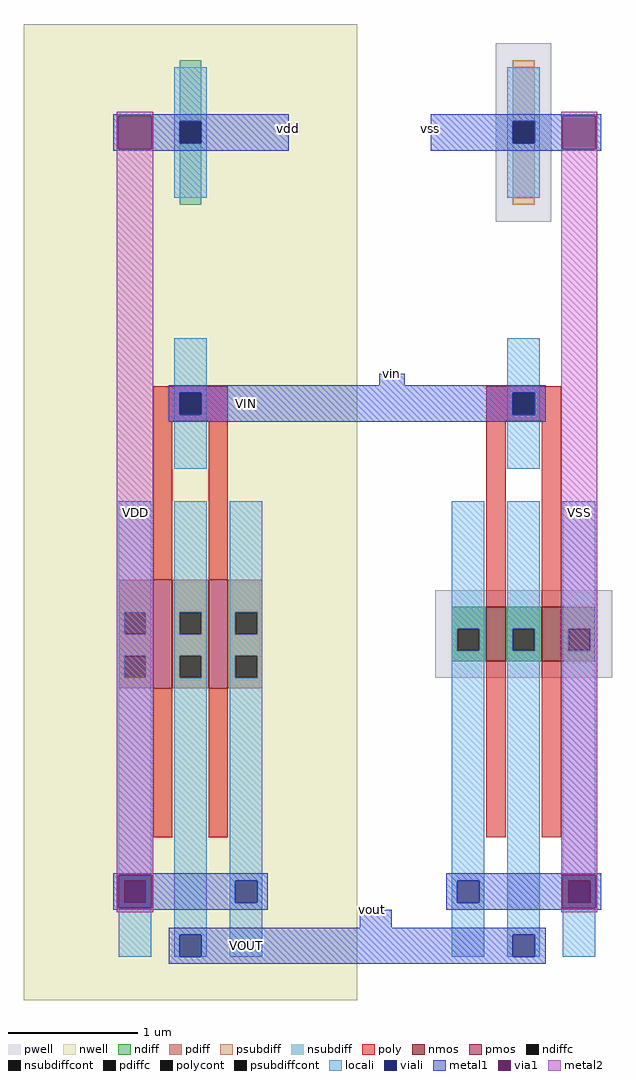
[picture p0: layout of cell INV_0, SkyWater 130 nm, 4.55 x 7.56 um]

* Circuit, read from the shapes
.subckt INV_0 vin vout vdd vss
XM1 VOUT VIN VSS VSS sky130_fd_pr__nfet_01v8 w=0.42 l=0.15 m=2
XM2 VOUT VIN VDD VDD sky130_fd_pr__pfet_01v8 w=0.84 l=0.15 m=2
.ends

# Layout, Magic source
magic
tech sky130A
magscale 1 2
<< metal1 >>
rect 372 1316 410 1372
rect 630 1316 654 1372
rect 550 952 590 970
rect 430 896 602 952
rect 520 112 570 140
rect 430 56 602 112
use NMOS_S_96839798_X1_Y1_1676315448  NMOS_S_96839798_X1_Y1_1676315448_0
transform 1 0 516 0 1 0
box 52 56 395 1482
use PMOS_S_36030836_X1_Y1_1676315449  PMOS_S_36030836_X1_Y1_1676315449_0
transform -1 0 516 0 1 0
box 0 0 516 1512
<< labels >>
flabel metal1 s 344 84 344 84 0 FreeSerif 0 0 0 0 VOUT
flabel metal1 s 344 924 344 924 0 FreeSerif 0 0 0 0 VIN
flabel metal2 s 860 756 860 756 0 FreeSerif 0 0 0 0 VSS
flabel metal2 s 172 756 172 756 0 FreeSerif 0 0 0 0 VDD
rlabel metal1 570 970 570 970 3 vin
port 1 e
rlabel metal1 540 140 540 140 3 vout
port 2 e
rlabel metal1 410 1350 410 1350 3 vdd
port 3 e
rlabel metal1 630 1350 630 1350 3 vss
port 4 e
<< end >>

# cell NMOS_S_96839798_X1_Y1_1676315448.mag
magic
tech sky130A
magscale 1 2
<< pwell >>
rect 215 1206 301 1482
rect 121 499 395 635
<< nmos >>
rect 200 525 230 609
rect 286 525 316 609
<< ndiff >>
rect 147 575 200 609
rect 147 541 155 575
rect 189 541 200 575
rect 147 525 200 541
rect 230 575 286 609
rect 230 541 241 575
rect 275 541 286 575
rect 230 525 286 541
rect 316 575 369 609
rect 316 541 327 575
rect 361 541 369 575
rect 316 525 369 541
<< ndiffc >>
rect 155 541 189 575
rect 241 541 275 575
rect 327 541 361 575
<< psubdiff >>
rect 241 1361 275 1456
rect 241 1232 275 1327
<< psubdiffcont >>
rect 241 1327 275 1361
<< poly >>
rect 200 941 316 951
rect 200 907 241 941
rect 275 907 316 941
rect 200 897 316 907
rect 200 609 230 897
rect 286 609 316 897
rect 200 252 230 525
rect 286 252 316 525
<< polycont >>
rect 241 907 275 941
<< locali >>
rect 233 1361 283 1445
rect 233 1327 241 1361
rect 275 1327 283 1361
rect 233 1243 283 1327
rect 233 941 283 1025
rect 233 907 241 941
rect 275 907 283 941
rect 233 823 283 907
rect 147 575 197 773
rect 147 541 155 575
rect 189 541 197 575
rect 147 185 197 541
rect 147 151 155 185
rect 189 151 197 185
rect 147 67 197 151
rect 233 575 283 773
rect 233 541 241 575
rect 275 541 283 575
rect 233 101 283 541
rect 233 67 241 101
rect 275 67 283 101
rect 319 575 369 773
rect 319 541 327 575
rect 361 541 369 575
rect 319 185 369 541
rect 319 151 327 185
rect 361 151 369 185
rect 319 67 369 151
<< viali >>
rect 241 1327 275 1361
rect 241 907 275 941
rect 155 151 189 185
rect 241 67 275 101
rect 327 151 361 185
<< metal1 >>
rect 138 1370 378 1372
rect 138 1361 318 1370
rect 138 1327 241 1361
rect 275 1327 318 1361
rect 138 1318 318 1327
rect 370 1318 378 1370
rect 138 1316 378 1318
rect 52 941 292 952
rect 52 907 241 941
rect 275 907 292 941
rect 52 896 292 907
rect 138 194 378 196
rect 138 185 318 194
rect 138 151 155 185
rect 189 151 318 185
rect 138 142 318 151
rect 370 142 378 194
rect 138 140 378 142
rect 52 101 292 112
rect 52 67 241 101
rect 275 67 292 101
rect 52 56 292 67
<< via1 >>
rect 318 1318 370 1370
rect 318 185 370 194
rect 318 151 327 185
rect 327 151 361 185
rect 361 151 370 185
rect 318 142 370 151
<< metal2 >>
rect 316 1370 372 1376
rect 316 1318 318 1370
rect 370 1318 372 1370
rect 316 194 372 1318
rect 316 142 318 194
rect 370 142 372 194
rect 316 136 372 142
<< end >>

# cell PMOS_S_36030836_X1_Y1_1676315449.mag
magic
tech sky130A
magscale 1 2
<< nwell >>
rect 0 0 516 1512
<< pmos >>
rect 200 483 230 651
rect 286 483 316 651
<< pdiff >>
rect 147 601 200 651
rect 147 567 155 601
rect 189 567 200 601
rect 147 533 200 567
rect 147 499 155 533
rect 189 499 200 533
rect 147 483 200 499
rect 230 601 286 651
rect 230 567 241 601
rect 275 567 286 601
rect 230 533 286 567
rect 230 499 241 533
rect 275 499 286 533
rect 230 483 286 499
rect 316 601 369 651
rect 316 567 327 601
rect 361 567 369 601
rect 316 533 369 567
rect 316 499 327 533
rect 361 499 369 533
rect 316 483 369 499
<< pdiffc >>
rect 155 567 189 601
rect 155 499 189 533
rect 241 567 275 601
rect 241 499 275 533
rect 327 567 361 601
rect 327 499 361 533
<< nsubdiff >>
rect 241 1361 275 1456
rect 241 1232 275 1327
<< nsubdiffcont >>
rect 241 1327 275 1361
<< poly >>
rect 200 941 316 951
rect 200 907 241 941
rect 275 907 316 941
rect 200 897 316 907
rect 200 651 230 897
rect 286 651 316 897
rect 200 252 230 483
rect 286 252 316 483
<< polycont >>
rect 241 907 275 941
<< locali >>
rect 233 1361 283 1445
rect 233 1327 241 1361
rect 275 1327 283 1361
rect 233 1243 283 1327
rect 233 941 283 1025
rect 233 907 241 941
rect 275 907 283 941
rect 233 823 283 907
rect 147 601 197 773
rect 147 567 155 601
rect 189 567 197 601
rect 147 533 197 567
rect 147 499 155 533
rect 189 499 197 533
rect 147 185 197 499
rect 147 151 155 185
rect 189 151 197 185
rect 147 67 197 151
rect 233 601 283 773
rect 233 567 241 601
rect 275 567 283 601
rect 233 533 283 567
rect 233 499 241 533
rect 275 499 283 533
rect 233 101 283 499
rect 233 67 241 101
rect 275 67 283 101
rect 319 601 369 773
rect 319 567 327 601
rect 361 567 369 601
rect 319 533 369 567
rect 319 499 327 533
rect 361 499 369 533
rect 319 185 369 499
rect 319 151 327 185
rect 361 151 369 185
rect 319 67 369 151
<< viali >>
rect 241 1327 275 1361
rect 241 907 275 941
rect 155 151 189 185
rect 241 67 275 101
rect 327 151 361 185
<< metal1 >>
rect 138 1370 378 1372
rect 138 1361 318 1370
rect 138 1327 241 1361
rect 275 1327 318 1361
rect 138 1318 318 1327
rect 370 1318 378 1370
rect 138 1316 378 1318
rect 52 941 292 952
rect 52 907 241 941
rect 275 907 292 941
rect 52 896 292 907
rect 138 194 378 196
rect 138 185 318 194
rect 138 151 155 185
rect 189 151 318 185
rect 138 142 318 151
rect 370 142 378 194
rect 138 140 378 142
rect 52 101 292 112
rect 52 67 241 101
rect 275 67 292 101
rect 52 56 292 67
<< via1 >>
rect 318 1318 370 1370
rect 318 185 370 194
rect 318 151 327 185
rect 327 151 361 185
rect 361 151 370 185
rect 318 142 370 151
<< metal2 >>
rect 316 1370 372 1376
rect 316 1318 318 1370
rect 370 1318 372 1370
rect 316 194 372 1318
rect 316 142 318 194
rect 370 142 372 194
rect 316 136 372 142
<< end >>
